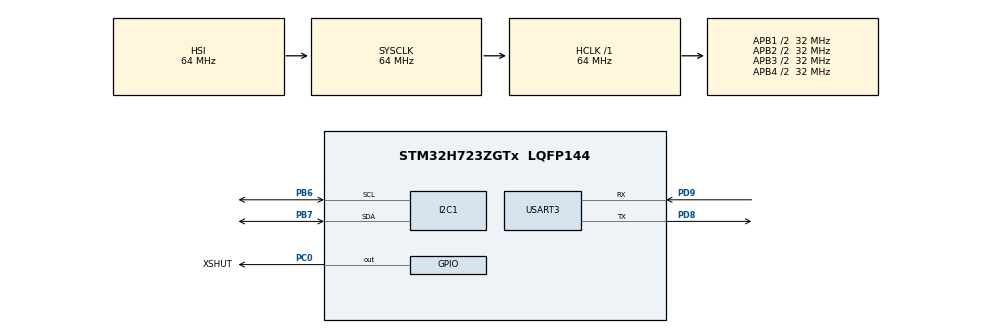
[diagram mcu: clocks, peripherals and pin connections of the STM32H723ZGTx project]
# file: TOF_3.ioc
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I2C1.Timing=0x00707CBB
Mcu.Family=STM32H7
Mcu.Name=STM32H723ZGTx
Mcu.Package=LQFP144
NVIC.PriorityGroup=NVIC_PRIORITYGROUP_4
PB6.GPIO_Pu=GPIO_PULLUP
PB6.GPIO_Speed=GPIO_SPEED_FREQ_VERY_HIGH
PB6.Mode=I2C
PB6.Signal=I2C1_SCL
PB7.GPIO_Pu=GPIO_PULLUP
PB7.GPIO_Speed=GPIO_SPEED_FREQ_VERY_HIGH
PB7.Mode=I2C
PB7.Signal=I2C1_SDA
PC0.GPIO_Label=XSHUT
PC0.GPIO_Speed=GPIO_SPEED_FREQ_VERY_HIGH
PC0.Signal=GPIO_Output
PD8.Mode=Asynchronous
PD8.Signal=USART3_TX
PD9.Mode=Asynchronous
PD9.Signal=USART3_RX
ProjectManager.HeapSize=0x200
ProjectManager.StackSize=0x400
ProjectManager.TargetToolchain=STM32CubeIDE
RCC.ADCFreq_Value=129000000
RCC.APB1Freq_Value=32000000
RCC.APB2Freq_Value=32000000
RCC.APB3Freq_Value=32000000
RCC.APB4Freq_Value=32000000
RCC.CortexFreq_Value=64000000
RCC.D1PPRE=RCC_APB3_DIV2
RCC.D2PPRE1=RCC_APB1_DIV2
RCC.D2PPRE2=RCC_APB2_DIV2
RCC.D3PPRE=RCC_APB4_DIV2
RCC.HCLKFreq_Value=64000000
RCC.SYSCLKFreq_VALUE=64000000
RCC.USBFreq_Value=129000000
USART3.VirtualMode-Asynchronous=VM_ASYNC
board=custom

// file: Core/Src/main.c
/* USER CODE BEGIN Header */
/**
 ******************************************************************************
 * @file           : main.c
 * @brief          : Main program body
 ******************************************************************************
 * @attention
 *
 * Copyright (c) 2022 STMicroelectronics.
 * All rights reserved.
 *
 * This software is licensed under terms that can be found in the LICENSE file
 * in the root directory of this software component.
 * If no LICENSE file comes with this software, it is provided AS-IS.
 *
 ******************************************************************************
 */
/* USER CODE END Header */
#include "main.h"

/* USER CODE BEGIN Includes */
#include "VL53L0X.h"
#include <stdio.h>
#include<string.h>
/* USER CODE END Includes */

/* USER CODE BEGIN PD */
// Uncomment this line to use long range mode. This
// increases the sensitivity of the sensor and extends its
// potential range, but increases the likelihood of getting
// an inaccurate reading because of reflections from objects
// other than the intended target. It works best in dark
// conditions.

#define LONG_RANGE

// Uncomment ONE of these two lines to get
// - higher speed at the cost of lower accuracy OR
// - higher accuracy at the cost of lower speed

#define HIGH_SPEED
//#define HIGH_ACCURACY

/* USER CODE END PD */

I2C_HandleTypeDef hi2c1;

UART_HandleTypeDef huart3;

/* USER CODE BEGIN PV */
uint8_t strbuf[55]; // for UART output via sprintf()

VL53L0X myTOFsensor = {.io_2v8 = true, .address = 0x52, .io_timeout = 500, .did_timeout = false};

/* USER CODE END PV */

void SystemClock_Config(void);
static void MX_GPIO_Init(void);
static void MX_I2C1_Init(void);
static void MX_USART3_UART_Init(void);

int main(void)
{

	/* MCU Configuration--------------------------------------------------------*/

	/* Reset of all peripherals, Initializes the Flash interface and the Systick. */
	HAL_Init();

	/* Configure the system clock */
	SystemClock_Config();

	/* Initialize all configured peripherals */
	MX_GPIO_Init();
	MX_I2C1_Init();
	MX_USART3_UART_Init();
	/* USER CODE BEGIN 2 */
	sprintf( (char*)strbuf, "testing VL53L0X\n--------------\n");
	HAL_UART_Transmit( &huart3, strbuf, strlen( (char*)strbuf ), 0xFFFF );

	HAL_GPIO_WritePin(XSHUT_GPIO_Port, XSHUT_Pin, GPIO_PIN_RESET); // Disable XSHUT
	HAL_Delay(20);
	HAL_GPIO_WritePin(XSHUT_GPIO_Port, XSHUT_Pin, GPIO_PIN_SET); // Enable XSHUT
	HAL_Delay(20);

	if( VL53L0X_init(&myTOFsensor) ){
		sprintf((char*)strbuf,"init successful\n");
		HAL_UART_Transmit( &huart3, strbuf, strlen( (char*)strbuf ), 0xFFFF );
	}else{
		sprintf((char*)strbuf,"init error");
		HAL_UART_Transmit( &huart3, strbuf, strlen( (char*)strbuf ), 0xFFFF );
		return 0;
	}

#ifdef LONG_RANGE
	// lower the return signal rate limit (default is 0.25 MCPS)
	VL53L0X_setSignalRateLimit(&myTOFsensor, 0.1);
	// increase laser pulse periods (defaults are 14 and 10 PCLKs)
	VL53L0X_setVcselPulsePeriod(&myTOFsensor, VcselPeriodPreRange, 18);
	VL53L0X_setVcselPulsePeriod(&myTOFsensor, VcselPeriodFinalRange, 14);
#endif
#ifdef HIGH_SPEED
	// reduce timing budget to 20 ms (default is about 33 ms)
	VL53L0X_setMeasurementTimingBudget(&myTOFsensor, 20000);

	sprintf((char*)strbuf,"step1\n");
	HAL_UART_Transmit( &huart3, strbuf, strlen( (char*)strbuf ), 0xFFFF );
#else //HIGH_ACCURACY
	// increase timing budget to 200 ms
	VL53L0X_setMeasurementTimingBudget(&myTOFsensor, 200000);
#endif

	VL53L0X_startContinuous(&myTOFsensor, 0);
	/* USER CODE END 2 */

	/* Infinite loop */
	/* USER CODE BEGIN WHILE */
	while (1)
	{
		uint16_t value = VL53L0X_readRangeContinuousMillimeters(&myTOFsensor);
		sprintf((char*)strbuf,"%d mm \n",value);
		HAL_UART_Transmit( &huart3, strbuf, strlen( (char*)strbuf ), 0xFFFF );
		if ( VL53L0X_timeoutOccurred(&myTOFsensor) ) {
			sprintf((char*)strbuf,"TIMEOUT\n");
			HAL_UART_Transmit( &huart3, strbuf, strlen( (char*)strbuf ), 0xFFFF );
		}
		/* USER CODE END WHILE */

	}
}

void SystemClock_Config(void)
{
	RCC_OscInitTypeDef RCC_OscInitStruct = {0};
	RCC_ClkInitTypeDef RCC_ClkInitStruct = {0};

	/** Supply configuration update enable
	 */
	HAL_PWREx_ConfigSupply(PWR_LDO_SUPPLY);

	/** Configure the main internal regulator output voltage
	 */
	__HAL_PWR_VOLTAGESCALING_CONFIG(PWR_REGULATOR_VOLTAGE_SCALE3);

	while(!__HAL_PWR_GET_FLAG(PWR_FLAG_VOSRDY)) {}

	/** Initializes the RCC Oscillators according to the specified parameters
	 * in the RCC_OscInitTypeDef structure.
	 */
	RCC_OscInitStruct.OscillatorType = RCC_OSCILLATORTYPE_HSI;
	RCC_OscInitStruct.HSIState = RCC_HSI_DIV1;
	RCC_OscInitStruct.HSICalibrationValue = RCC_HSICALIBRATION_DEFAULT;
	RCC_OscInitStruct.PLL.PLLState = RCC_PLL_NONE;
	if (HAL_RCC_OscConfig(&RCC_OscInitStruct) != HAL_OK)
	{
		Error_Handler();
	}

	/** Initializes the CPU, AHB and APB buses clocks
	 */
	RCC_ClkInitStruct.ClockType = RCC_CLOCKTYPE_HCLK|RCC_CLOCKTYPE_SYSCLK
			|RCC_CLOCKTYPE_PCLK1|RCC_CLOCKTYPE_PCLK2
			|RCC_CLOCKTYPE_D3PCLK1|RCC_CLOCKTYPE_D1PCLK1;
	RCC_ClkInitStruct.SYSCLKSource = RCC_SYSCLKSOURCE_HSI;
	RCC_ClkInitStruct.SYSCLKDivider = RCC_SYSCLK_DIV1;
	RCC_ClkInitStruct.AHBCLKDivider = RCC_HCLK_DIV1;
	RCC_ClkInitStruct.APB3CLKDivider = RCC_APB3_DIV2;
	RCC_ClkInitStruct.APB1CLKDivider = RCC_APB1_DIV2;
	RCC_ClkInitStruct.APB2CLKDivider = RCC_APB2_DIV2;
	RCC_ClkInitStruct.APB4CLKDivider = RCC_APB4_DIV2;

	if (HAL_RCC_ClockConfig(&RCC_ClkInitStruct, FLASH_LATENCY_1) != HAL_OK)
	{
		Error_Handler();
	}
}

static void MX_I2C1_Init(void)
{

	hi2c1.Instance = I2C1;
	hi2c1.Init.Timing = 0x00707CBB;
	hi2c1.Init.OwnAddress1 = 0;
	hi2c1.Init.AddressingMode = I2C_ADDRESSINGMODE_7BIT;
	hi2c1.Init.DualAddressMode = I2C_DUALADDRESS_DISABLE;
	hi2c1.Init.OwnAddress2 = 0;
	hi2c1.Init.OwnAddress2Masks = I2C_OA2_NOMASK;
	hi2c1.Init.GeneralCallMode = I2C_GENERALCALL_DISABLE;
	hi2c1.Init.NoStretchMode = I2C_NOSTRETCH_DISABLE;
	if (HAL_I2C_Init(&hi2c1) != HAL_OK)
	{
		Error_Handler();
	}

	/** Configure Analogue filter
	 */
	if (HAL_I2CEx_ConfigAnalogFilter(&hi2c1, I2C_ANALOGFILTER_ENABLE) != HAL_OK)
	{
		Error_Handler();
	}

	/** Configure Digital filter
	 */
	if (HAL_I2CEx_ConfigDigitalFilter(&hi2c1, 0) != HAL_OK)
	{
		Error_Handler();
	}

}

static void MX_USART3_UART_Init(void)
{

	huart3.Instance = USART3;
	huart3.Init.BaudRate = 115200;
	huart3.Init.WordLength = UART_WORDLENGTH_8B;
	huart3.Init.StopBits = UART_STOPBITS_1;
	huart3.Init.Parity = UART_PARITY_NONE;
	huart3.Init.Mode = UART_MODE_TX_RX;
	huart3.Init.HwFlowCtl = UART_HWCONTROL_NONE;
	huart3.Init.OverSampling = UART_OVERSAMPLING_16;
	huart3.Init.OneBitSampling = UART_ONE_BIT_SAMPLE_DISABLE;
	huart3.Init.ClockPrescaler = UART_PRESCALER_DIV1;
	huart3.AdvancedInit.AdvFeatureInit = UART_ADVFEATURE_NO_INIT;
	if (HAL_UART_Init(&huart3) != HAL_OK)
	{
		Error_Handler();
	}
	if (HAL_UARTEx_SetTxFifoThreshold(&huart3, UART_TXFIFO_THRESHOLD_1_8) != HAL_OK)
	{
		Error_Handler();
	}
	if (HAL_UARTEx_SetRxFifoThreshold(&huart3, UART_RXFIFO_THRESHOLD_1_8) != HAL_OK)
	{
		Error_Handler();
	}
	if (HAL_UARTEx_DisableFifoMode(&huart3) != HAL_OK)
	{
		Error_Handler();
	}

}

static void MX_GPIO_Init(void)
{
	GPIO_InitTypeDef GPIO_InitStruct = {0};

	/* GPIO Ports Clock Enable */
	__HAL_RCC_GPIOC_CLK_ENABLE();
	__HAL_RCC_GPIOD_CLK_ENABLE();
	__HAL_RCC_GPIOB_CLK_ENABLE();

	/*Configure GPIO pin Output Level */
	HAL_GPIO_WritePin(XSHUT_GPIO_Port, XSHUT_Pin, GPIO_PIN_RESET);

	/*Configure GPIO pin : XSHUT_Pin */
	GPIO_InitStruct.Pin = XSHUT_Pin;
	GPIO_InitStruct.Mode = GPIO_MODE_OUTPUT_PP;
	GPIO_InitStruct.Pull = GPIO_NOPULL;
	GPIO_InitStruct.Speed = GPIO_SPEED_FREQ_VERY_HIGH;
	HAL_GPIO_Init(XSHUT_GPIO_Port, &GPIO_InitStruct);

}

void Error_Handler(void)
{
	__disable_irq();
	while (1)
	{
	}
}
